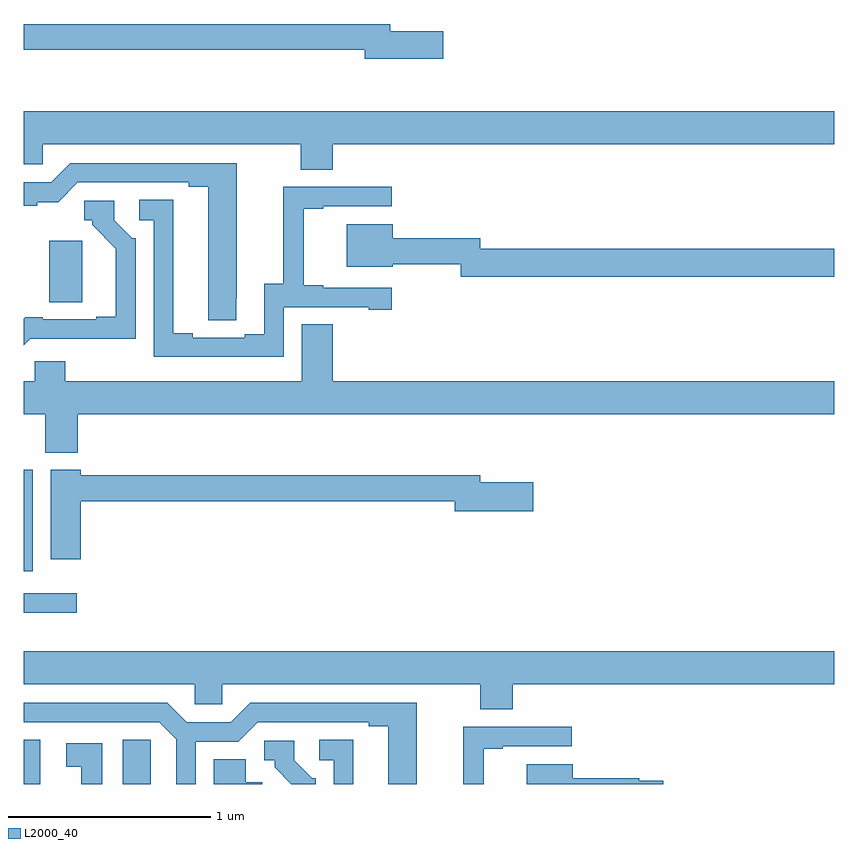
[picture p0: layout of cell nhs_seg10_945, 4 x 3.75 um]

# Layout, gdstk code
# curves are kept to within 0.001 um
import gdstk
lib = gdstk.Library(unit=1e-6, precision=1e-09)
def R(c, l, rs):  # rectangles x0, y0, x1, y1
    for r in rs: c.add(gdstk.rectangle(r[:2], r[2:], *l))
def P(c, l, *ps):  # polygons
    for p in ps: c.add(gdstk.Polygon(p, *l))
L2000_40 = (2000, 40)

nhs_seg10_945 = lib.new_cell('nhs_seg10_945')
R(nhs_seg10_945, L2000_40, [(159,1290.5,159.082,1290.718), (159,1291.344,159.262,1291.44), (159,1291.55,159.046,1292.05)])
P(nhs_seg10_945, L2000_40, [(161.071,1294.214),(160.81,1294.214),(160.81,1294.25),(159,1294.25),(159,1294.122),(160.682,1294.122),(160.682,1294.079),(161.071,1294.079)],
  [(160.526,1293.656),(163,1293.656),(163,1293.82),(159,1293.82),(159,1293.558),(159.093,1293.558),(159.093,1293.656),(160.366,1293.656),(160.366,1293.532),(160.526,1293.532)],
  [(160.05,1292.896),(160.051,1293.564),(159.231,1293.564),(159.135,1293.468),(159,1293.468),(159,1293.352),(159.066,1293.352),(159.066,1293.371),(159.17,1293.371),(159.267,1293.468),(159.815,1293.468),(159.815,1293.448),(159.911,1293.448),(159.911,1292.788),(160.05,1292.788)],
  [(160.284,1292.853),(160.703,1292.853),(160.703,1292.841),(160.816,1292.841),(160.816,1292.949),(160.477,1292.949),(160.477,1292.962),(160.382,1292.962),(160.382,1293.339),(160.477,1293.339),(160.477,1293.351),(160.816,1293.351),(160.816,1293.447),(160.282,1293.447),(160.282,1292.969),(160.187,1292.969),(160.187,1292.718),(160.091,1292.718),(160.091,1292.703),(159.835,1292.703),(159.835,1292.723),(159.739,1292.723),(159.739,1293.383),(159.57,1293.383),(159.57,1293.282),(159.642,1293.282),(159.642,1292.607),(160.284,1292.607)],
  [(159.033,1292.697),(159.552,1292.696),(159.552,1293.192),(159.537,1293.192),(159.447,1293.282),(159.447,1293.378),(159.3,1293.378),(159.3,1293.282),(159.339,1293.282),(159.339,1293.259),(159.455,1293.142),(159.455,1292.806),(159.359,1292.806),(159.359,1292.793),(159.094,1292.793),(159.094,1292.804),(159.008,1292.804),(159,1292.796),(159,1292.664)],
  [(163,1293.14),(161.253,1293.14),(161.253,1293.193),(160.822,1293.193),(160.822,1293.262),(160.595,1293.262),(160.595,1293.053),(160.822,1293.053),(160.822,1293.064),(161.157,1293.064),(161.157,1293.004),(163,1293.004)],
  [(159.289,1293.181),(159.125,1293.181),(159.125,1293.036),(159.127,1293.036),(159.127,1292.878),(159.289,1292.878)],
  [(159.266,1292.324),(163,1292.324),(163,1292.488),(160.526,1292.488),(160.526,1292.768),(160.373,1292.768),(160.373,1292.488),(159.206,1292.488),(159.206,1292.586),(159.054,1292.586),(159.054,1292.488),(159,1292.488),(159,1292.324),(159.106,1292.324),(159.106,1292.135),(159.266,1292.135)],
  [(159.281,1291.894),(161.126,1291.894),(161.126,1291.847),(161.515,1291.847),(161.515,1291.989),(161.254,1291.989),(161.254,1292.023),(159.281,1292.023),(159.281,1292.05),(159.134,1292.05),(159.134,1291.608),(159.281,1291.608)],
  [(161.414,1290.992),(163,1290.992),(163,1291.156),(159,1291.156),(159,1290.992),(159.843,1290.992),(159.843,1290.894),(159.981,1290.894),(159.981,1290.992),(161.254,1290.992),(161.254,1290.868),(161.414,1290.868)],
  [(159.849,1290.708),(160.059,1290.708),(160.155,1290.804),(160.703,1290.804),(160.703,1290.784),(160.799,1290.784),(160.799,1290.5),(160.939,1290.5),(160.939,1290.9),(160.119,1290.9),(160.023,1290.804),(159.805,1290.804),(159.709,1290.9),(159,1290.9),(159,1290.804),(159.669,1290.804),(159.753,1290.72),(159.753,1290.5),(159.849,1290.5)],
  [(161.27,1290.675),(161.365,1290.675),(161.365,1290.687),(161.704,1290.687),(161.704,1290.783),(161.17,1290.783),(161.17,1290.5),(161.27,1290.5)],
  [(159.628,1290.611),(159.627,1290.611),(159.627,1290.719),(159.488,1290.719),(159.488,1290.5),(159.628,1290.5)],
  [(160.627,1290.719),(160.458,1290.719),(160.458,1290.618),(160.53,1290.618),(160.53,1290.5),(160.627,1290.5)],
  [(160.44,1290.528),(160.425,1290.528),(160.335,1290.618),(160.335,1290.714),(160.188,1290.714),(160.188,1290.618),(160.238,1290.618),(160.238,1290.583),(160.321,1290.5),(160.44,1290.5)],
  [(159.388,1290.702),(159.21,1290.702),(159.21,1290.586),(159.284,1290.586),(159.284,1290.5),(159.388,1290.5)],
  [(160.177,1290.508),(160.096,1290.508),(160.096,1290.623),(159.938,1290.623),(159.938,1290.5),(160.177,1290.5)],
  [(162.155,1290.516),(162.038,1290.516),(162.038,1290.529),(161.71,1290.529),(161.71,1290.598),(161.483,1290.598),(161.483,1290.5),(162.155,1290.5)])

lib.write_gds('nhs_seg10_945.gds')
